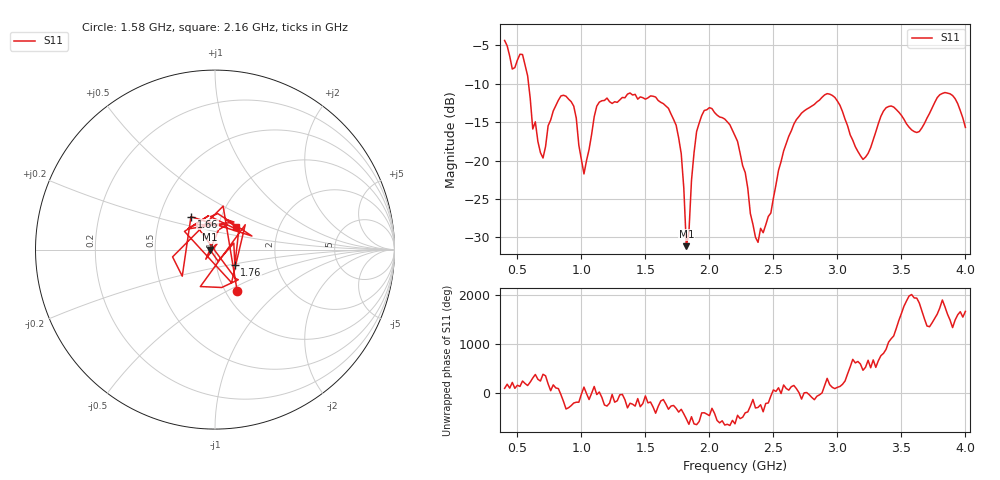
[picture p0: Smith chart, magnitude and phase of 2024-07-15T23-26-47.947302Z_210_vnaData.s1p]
!Created with skrf (http://scikit-rf.org).
# Hz S RI R 50.0
!freq ReS11 ImS11
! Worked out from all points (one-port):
!   181 points, 400 MHz to 4 GHz, reference 50 ohm
!   lowest |S11| = -31.1 dB at 1.82 GHz (marker M1), VSWR 1.06, Z = 47.3 - j0.0929 ohm
!   |S11| at or under -10 dB: 587.2 MHz to end of sweep
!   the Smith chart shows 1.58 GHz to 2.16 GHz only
!   S11 on the Smith chart (normalised r, x): 1.58 GHz: 1.14, -0.56; 1.66 GHz: 0.72, +0.28; 1.76 GHz: 1.23, -0.22; 2.16 GHz: 1.22, +0.32
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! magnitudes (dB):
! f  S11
! 400 MHz  -4.3
! 460 MHz  -8.1
! 540 MHz  -6.2
! 620 MHz  -15.9
! 700 MHz  -19.7
! 860 MHz  -11.5
! 940 MHz  -12.9
! 1.02 GHz  -21.7
! 1.12 GHz  -12.9
! 1.3 GHz  -12.1
! 1.58 GHz  -11.7
! 1.66 GHz  -12.9
! 1.76 GHz  -17.0
! 1.8 GHz  -23.6
! 1.82 GHz  -31.1
! 1.88 GHz  -19.0
! 1.94 GHz  -14.1
! 2.16 GHz  -15.3
! 2.2 GHz  -16.8
! 2.38 GHz  -30.6
! 2.66 GHz  -15.2
! 2.92 GHz  -11.3
! 3.1 GHz  -16.6
! 3.2 GHz  -19.8
! 3.38 GHz  -13.1
! 3.56 GHz  -15.6
! 3.84 GHz  -11.1
! 4 GHz  -15.7
